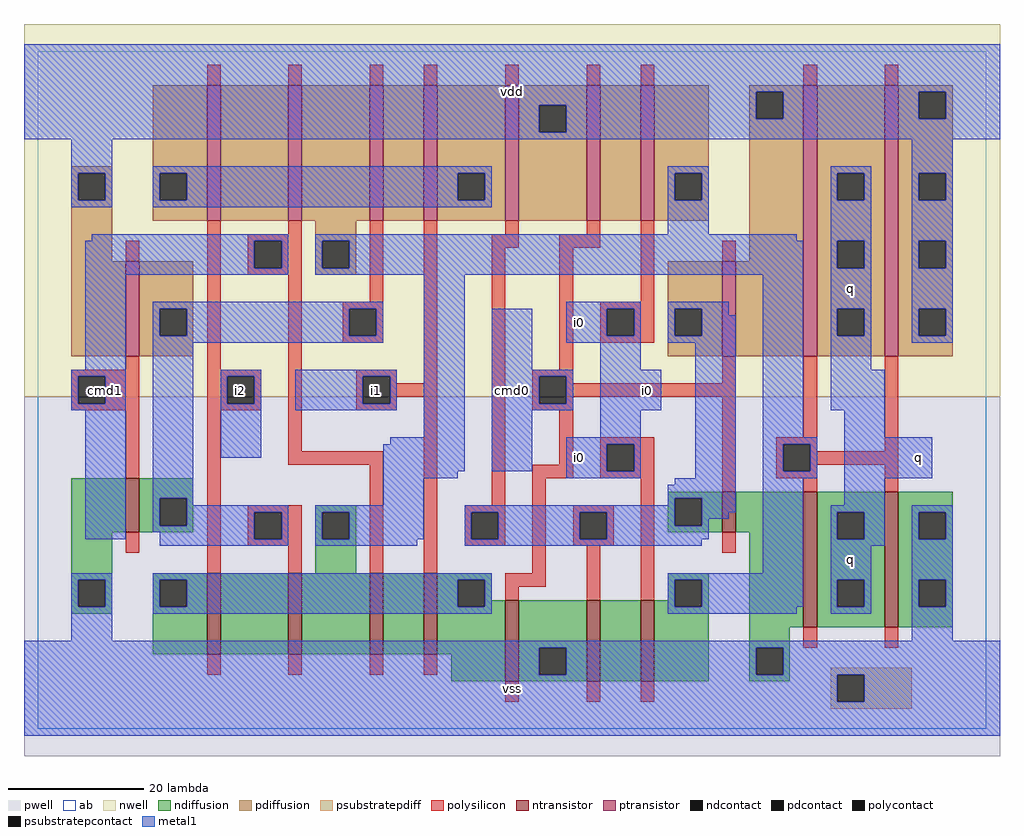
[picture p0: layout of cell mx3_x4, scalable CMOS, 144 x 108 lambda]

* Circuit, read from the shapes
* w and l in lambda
.subckt mx3_x4 cmd0 cmd1 i0 i1 i2 q vdd vss
M1 n1 cmd1 vss vss nfet w=8 l=2
M2 n2 i2 n3 vss nfet w=12 l=2
M3 n4 n1 n2 vss nfet w=12 l=2
M4 n5 cmd1 n4 vss nfet w=12 l=2
M5 n3 i1 n5 vss nfet w=12 l=2
M6 vss cmd0 n3 vss nfet w=12 l=2
M7 n6 n7 vss vss nfet w=12 l=2
M8 n4 i0 n6 vss nfet w=12 l=2
M9 vss cmd0 n7 vss nfet w=6 l=2
M10 q n4 vss vss nfet w=20 l=2 m=2
M11 n1 cmd1 vdd n8 pfet w=14 l=2
M12 n9 i2 n10 n8 pfet w=20 l=2
M13 n4 cmd1 n9 n8 pfet w=20 l=2
M14 n11 n1 n4 n8 pfet w=20 l=2
M15 n10 i1 n11 n8 pfet w=20 l=2
M16 vdd n7 n10 n8 pfet w=20 l=2
M17 n12 cmd0 vdd n8 pfet w=20 l=2
M18 n4 i0 n12 n8 pfet w=20 l=2
M19 vdd cmd0 n7 n8 pfet w=14 l=2
M20 q n4 vdd n8 pfet w=40 l=2 m=2
.ends

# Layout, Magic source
magic
tech scmos
<< ab >>
rect 0 0 140 100
<< pwell >>
rect -2 -4 142 49
<< nwell >>
rect -2 49 142 104
<< polysilicon >>
rect 25 95 27 98
rect 37 95 39 98
rect 49 95 51 98
rect 57 95 59 98
rect 69 95 71 98
rect 81 95 83 98
rect 89 95 91 98
rect 113 95 115 98
rect 125 95 127 98
rect 13 69 15 72
rect 13 53 15 55
rect 5 52 15 53
rect 5 48 6 52
rect 10 48 15 52
rect 5 47 15 48
rect 13 37 15 47
rect 25 53 27 75
rect 37 73 39 75
rect 31 72 39 73
rect 31 68 32 72
rect 36 68 39 72
rect 31 67 39 68
rect 25 52 33 53
rect 25 48 28 52
rect 32 48 33 52
rect 25 47 33 48
rect 13 26 15 29
rect 25 23 27 47
rect 37 41 39 67
rect 49 63 51 75
rect 45 62 51 63
rect 45 58 46 62
rect 50 58 51 62
rect 45 57 51 58
rect 47 52 53 53
rect 47 48 48 52
rect 52 51 53 52
rect 57 51 59 75
rect 69 73 71 75
rect 81 73 83 75
rect 52 49 59 51
rect 52 48 53 49
rect 47 47 53 48
rect 37 39 51 41
rect 31 32 39 33
rect 31 28 32 32
rect 36 28 39 32
rect 31 27 39 28
rect 37 23 39 27
rect 49 23 51 39
rect 57 23 59 49
rect 67 71 71 73
rect 77 71 83 73
rect 67 33 69 71
rect 77 53 79 71
rect 89 63 91 75
rect 101 69 103 72
rect 83 62 91 63
rect 83 58 84 62
rect 88 58 91 62
rect 83 57 91 58
rect 73 52 79 53
rect 73 48 74 52
rect 78 51 79 52
rect 101 51 103 55
rect 78 49 103 51
rect 78 48 79 49
rect 73 47 79 48
rect 77 39 79 47
rect 63 32 69 33
rect 63 28 64 32
rect 68 28 69 32
rect 63 27 69 28
rect 73 37 79 39
rect 83 42 91 43
rect 83 38 84 42
rect 88 38 91 42
rect 83 37 91 38
rect 73 23 75 37
rect 79 32 85 33
rect 79 28 80 32
rect 84 28 85 32
rect 79 27 85 28
rect 69 21 75 23
rect 69 19 71 21
rect 81 19 83 27
rect 89 19 91 37
rect 101 35 103 49
rect 113 43 115 55
rect 109 42 115 43
rect 109 38 110 42
rect 114 41 115 42
rect 125 41 127 55
rect 114 39 127 41
rect 114 38 115 39
rect 109 37 115 38
rect 113 35 115 37
rect 125 35 127 39
rect 101 26 103 29
rect 25 8 27 11
rect 37 8 39 11
rect 49 8 51 11
rect 57 8 59 11
rect 113 12 115 15
rect 125 12 127 15
rect 69 4 71 7
rect 81 4 83 7
rect 89 4 91 7
<< ndiffusion >>
rect 5 29 13 37
rect 15 34 23 37
rect 15 30 18 34
rect 22 30 23 34
rect 15 29 23 30
rect 5 22 11 29
rect 41 32 47 33
rect 41 28 42 32
rect 46 28 47 32
rect 41 23 47 28
rect 5 18 6 22
rect 10 18 11 22
rect 5 17 11 18
rect 17 22 25 23
rect 17 18 18 22
rect 22 18 25 22
rect 17 11 25 18
rect 27 11 37 23
rect 39 11 49 23
rect 51 11 57 23
rect 59 22 67 23
rect 59 18 62 22
rect 66 19 67 22
rect 93 34 101 35
rect 93 30 94 34
rect 98 30 101 34
rect 93 29 101 30
rect 103 29 113 35
rect 93 22 99 23
rect 93 19 94 22
rect 66 18 69 19
rect 59 11 69 18
rect 61 7 69 11
rect 71 12 81 19
rect 71 8 74 12
rect 78 8 81 12
rect 71 7 81 8
rect 83 7 89 19
rect 91 18 94 19
rect 98 18 99 22
rect 91 7 99 18
rect 105 15 113 29
rect 115 32 125 35
rect 115 28 118 32
rect 122 28 125 32
rect 115 22 125 28
rect 115 18 118 22
rect 122 18 125 22
rect 115 15 125 18
rect 127 32 135 35
rect 127 28 130 32
rect 134 28 135 32
rect 127 22 135 28
rect 127 18 130 22
rect 134 18 135 22
rect 127 15 135 18
rect 105 12 111 15
rect 105 8 106 12
rect 110 8 111 12
rect 105 7 111 8
<< pdiffusion >>
rect 5 82 11 83
rect 5 78 6 82
rect 10 78 11 82
rect 5 69 11 78
rect 17 82 25 95
rect 17 78 18 82
rect 22 78 25 82
rect 17 75 25 78
rect 27 75 37 95
rect 39 75 49 95
rect 51 75 57 95
rect 59 82 69 95
rect 59 78 62 82
rect 66 78 69 82
rect 59 75 69 78
rect 71 92 81 95
rect 71 88 74 92
rect 78 88 81 92
rect 71 75 81 88
rect 83 75 89 95
rect 91 82 99 95
rect 91 78 94 82
rect 98 78 99 82
rect 91 75 99 78
rect 105 94 113 95
rect 105 90 106 94
rect 110 90 113 94
rect 5 55 13 69
rect 15 62 23 69
rect 15 58 18 62
rect 22 58 23 62
rect 15 55 23 58
rect 41 72 47 75
rect 41 68 42 72
rect 46 68 47 72
rect 41 67 47 68
rect 105 69 113 90
rect 93 62 101 69
rect 93 58 94 62
rect 98 58 101 62
rect 93 55 101 58
rect 103 55 113 69
rect 115 82 125 95
rect 115 78 118 82
rect 122 78 125 82
rect 115 72 125 78
rect 115 68 118 72
rect 122 68 125 72
rect 115 62 125 68
rect 115 58 118 62
rect 122 58 125 62
rect 115 55 125 58
rect 127 94 135 95
rect 127 90 130 94
rect 134 90 135 94
rect 127 82 135 90
rect 127 78 130 82
rect 134 78 135 82
rect 127 72 135 78
rect 127 68 130 72
rect 134 68 135 72
rect 127 62 135 68
rect 127 58 130 62
rect 134 58 135 62
rect 127 55 135 58
<< metal1 >>
rect -2 94 142 101
rect -2 92 106 94
rect -2 88 74 92
rect 78 90 106 92
rect 110 90 130 94
rect 134 90 142 94
rect 78 88 142 90
rect -2 87 142 88
rect 5 82 11 87
rect 5 78 6 82
rect 10 78 11 82
rect 5 77 11 78
rect 17 82 67 83
rect 17 78 18 82
rect 22 78 62 82
rect 66 78 67 82
rect 17 77 67 78
rect 93 82 99 83
rect 93 78 94 82
rect 98 78 99 82
rect 93 73 99 78
rect 117 82 123 83
rect 117 78 118 82
rect 122 78 123 82
rect 8 72 37 73
rect 7 68 32 72
rect 36 68 37 72
rect 7 67 37 68
rect 41 72 112 73
rect 117 72 123 78
rect 41 68 42 72
rect 46 68 113 72
rect 41 67 113 68
rect 7 53 13 67
rect 5 52 13 53
rect 5 48 6 52
rect 10 48 13 52
rect 5 47 13 48
rect 7 28 13 47
rect 17 62 51 63
rect 17 58 18 62
rect 22 58 46 62
rect 50 58 51 62
rect 17 57 51 58
rect 17 34 23 57
rect 27 52 33 53
rect 27 48 28 52
rect 32 48 33 52
rect 27 40 33 48
rect 38 52 53 53
rect 38 48 48 52
rect 52 48 53 52
rect 38 47 53 48
rect 57 43 63 67
rect 78 62 89 63
rect 52 42 63 43
rect 17 30 18 34
rect 22 33 23 34
rect 51 38 63 42
rect 67 53 73 62
rect 78 58 84 62
rect 88 58 89 62
rect 78 57 89 58
rect 93 62 102 63
rect 93 58 94 62
rect 98 61 102 62
rect 98 58 103 61
rect 93 57 103 58
rect 83 53 89 57
rect 67 52 79 53
rect 67 48 74 52
rect 78 48 79 52
rect 67 47 79 48
rect 83 47 92 53
rect 67 38 73 47
rect 83 43 89 47
rect 78 42 89 43
rect 78 38 84 42
rect 88 38 89 42
rect 51 37 62 38
rect 78 37 89 38
rect 97 37 103 57
rect 51 33 57 37
rect 94 36 103 37
rect 93 34 103 36
rect 93 33 94 34
rect 22 32 37 33
rect 22 30 32 32
rect 17 29 32 30
rect 18 28 32 29
rect 36 28 37 32
rect 18 27 37 28
rect 41 32 57 33
rect 41 28 42 32
rect 46 28 57 32
rect 63 32 94 33
rect 63 28 64 32
rect 68 28 80 32
rect 84 30 94 32
rect 98 32 103 34
rect 107 43 113 67
rect 117 68 118 72
rect 122 68 123 72
rect 117 62 123 68
rect 117 58 118 62
rect 122 58 123 62
rect 117 53 123 58
rect 129 82 135 87
rect 129 78 130 82
rect 134 78 135 82
rect 129 72 135 78
rect 129 68 130 72
rect 134 68 135 72
rect 129 62 135 68
rect 129 58 130 62
rect 134 58 135 62
rect 129 57 135 58
rect 117 47 125 53
rect 119 43 125 47
rect 107 42 115 43
rect 107 38 110 42
rect 114 38 115 42
rect 107 37 115 38
rect 119 37 132 43
rect 98 31 102 32
rect 98 30 99 31
rect 84 28 99 30
rect 41 27 56 28
rect 63 27 98 28
rect 107 23 113 37
rect 119 33 125 37
rect 5 22 11 23
rect 5 18 6 22
rect 10 18 11 22
rect 5 13 11 18
rect 17 22 67 23
rect 17 18 18 22
rect 22 18 62 22
rect 66 18 67 22
rect 17 17 67 18
rect 93 22 113 23
rect 93 18 94 22
rect 98 18 113 22
rect 117 32 125 33
rect 117 28 118 32
rect 122 28 125 32
rect 117 27 125 28
rect 129 32 135 33
rect 129 28 130 32
rect 134 28 135 32
rect 117 22 123 27
rect 117 18 118 22
rect 122 18 123 22
rect 93 17 112 18
rect 117 17 123 18
rect 129 22 135 28
rect 129 18 130 22
rect 134 18 135 22
rect 129 13 135 18
rect -2 12 142 13
rect -2 8 74 12
rect 78 8 106 12
rect 110 8 142 12
rect -2 4 118 8
rect 122 4 142 8
rect -2 -1 142 4
<< ntransistor >>
rect 13 29 15 37
rect 25 11 27 23
rect 37 11 39 23
rect 49 11 51 23
rect 57 11 59 23
rect 101 29 103 35
rect 69 7 71 19
rect 81 7 83 19
rect 89 7 91 19
rect 113 15 115 35
rect 125 15 127 35
<< ptransistor >>
rect 25 75 27 95
rect 37 75 39 95
rect 49 75 51 95
rect 57 75 59 95
rect 69 75 71 95
rect 81 75 83 95
rect 89 75 91 95
rect 13 55 15 69
rect 101 55 103 69
rect 113 55 115 95
rect 125 55 127 95
<< polycontact >>
rect 6 48 10 52
rect 32 68 36 72
rect 28 48 32 52
rect 46 58 50 62
rect 48 48 52 52
rect 32 28 36 32
rect 84 58 88 62
rect 74 48 78 52
rect 64 28 68 32
rect 84 38 88 42
rect 80 28 84 32
rect 110 38 114 42
<< ndcontact >>
rect 18 30 22 34
rect 42 28 46 32
rect 6 18 10 22
rect 18 18 22 22
rect 62 18 66 22
rect 94 30 98 34
rect 74 8 78 12
rect 94 18 98 22
rect 118 28 122 32
rect 118 18 122 22
rect 130 28 134 32
rect 130 18 134 22
rect 106 8 110 12
<< pdcontact >>
rect 6 78 10 82
rect 18 78 22 82
rect 62 78 66 82
rect 74 88 78 92
rect 94 78 98 82
rect 106 90 110 94
rect 18 58 22 62
rect 42 68 46 72
rect 94 58 98 62
rect 118 78 122 82
rect 118 68 122 72
rect 118 58 122 62
rect 130 90 134 94
rect 130 78 134 82
rect 130 68 134 72
rect 130 58 134 62
<< psubstratepcontact >>
rect 118 4 122 8
<< psubstratepdiff >>
rect 117 8 129 9
rect 117 4 118 8
rect 122 4 129 8
rect 117 3 129 4
<< labels >>
rlabel metal1 10 50 10 50 6 cmd1
rlabel metal1 10 50 10 50 6 cmd1
rlabel polycontact 50 50 50 50 6 i1
rlabel polycontact 30 50 30 50 6 i2
rlabel polycontact 50 50 50 50 6 i1
rlabel polycontact 30 50 30 50 6 i2
rlabel metal1 70 6 70 6 6 vss
rlabel metal1 70 6 70 6 6 vss
rlabel metal1 80 40 80 40 6 i0
rlabel metal1 80 40 80 40 6 i0
rlabel metal1 70 50 70 50 6 cmd0
rlabel metal1 70 50 70 50 6 cmd0
rlabel metal1 80 60 80 60 6 i0
rlabel metal1 80 60 80 60 6 i0
rlabel metal1 70 94 70 94 6 vdd
rlabel metal1 70 94 70 94 6 vdd
rlabel metal1 90 50 90 50 6 i0
rlabel metal1 90 50 90 50 6 i0
rlabel metal1 120 25 120 25 6 q
rlabel metal1 120 25 120 25 6 q
rlabel metal1 130 40 130 40 6 q
rlabel metal1 130 40 130 40 6 q
rlabel metal1 120 65 120 65 6 q
rlabel metal1 120 65 120 65 6 q
<< end >>
